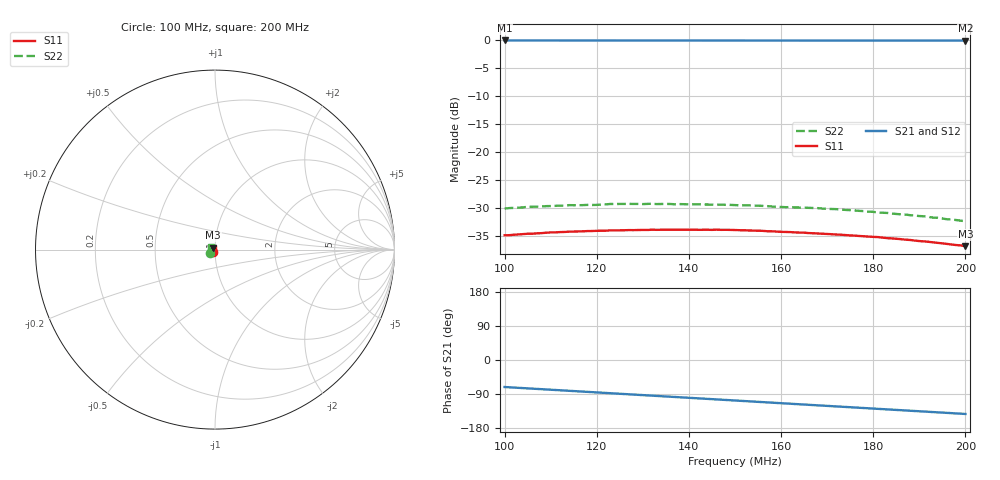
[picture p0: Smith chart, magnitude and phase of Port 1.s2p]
! RsaToolbox (C) 2014 Rohde & Schwarz America
! Number of points: 101
! Number of ports: 2
! Balanced ports?: No
# Hz S RI R 50
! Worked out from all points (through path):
!   101 points, 100 MHz to 200 MHz, reference 50 ohm
!   highest |S21| = -0.07 dB at 100 MHz (marker M1); lowest = -0.1 dB at 200 MHz (marker M2)
!   group delay of S21, straight-line fit = 1.97 ns
!   lowest |S11| = -36.9 dB at 200 MHz (marker M3), VSWR 1.03, Z = 49 + j1.03 ohm
!   |S11| at or under -10 dB: start of sweep to end of sweep
!   |S22| runs from -32.4 to -29.3 dB; largest |S21 - S12| = 0
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1e8  -0.0139 -0.0113  0.3178 -0.94  0.3178 -0.94  -0.0255 -0.0178
1.05e8  -0.0151 -0.0107  0.2588 -0.9578  0.2588 -0.9578  -0.0275 -0.0168
1.14e8  -0.0171 -0.00893  0.1504 -0.9805  0.1504 -0.9805  -0.0301 -0.0142
1.17e8  -0.0176 -0.00824  0.1138 -0.9853  0.1138 -0.9853  -0.0307 -0.013
1.2e8  -0.0181 -0.00754  0.0771 -0.9888  0.0771 -0.9888  -0.0313 -0.012
1.23e8  -0.0186 -0.00682  0.04 -0.9909  0.04 -0.9909  -0.0323 -0.0111
1.29e8  -0.0193 -0.00519  -0.0338 -0.9909  -0.0338 -0.9909  -0.033 -0.00871
1.34e8  -0.0197 -0.00378  -0.0951 -0.9868  -0.0951 -0.9868  -0.0334 -0.00668
1.42e8  -0.02 -0.00147  -0.1923 -0.9724  -0.1923 -0.9724  -0.0337 -0.00351
1.46e8  -0.0201 -0.000351  -0.2402 -0.9615  -0.2402 -0.9615  -0.0336 -0.00207
1.5e8  -0.0199 0.000823  -0.2875 -0.9483  -0.2875 -0.9483  -0.0333 -0.000466
1.55e8  -0.0195 0.00236  -0.3457 -0.9285  -0.3457 -0.9285  -0.0329 0.00163
1.58e8  -0.0192 0.00315  -0.38 -0.9149  -0.38 -0.9149  -0.0323 0.00272
1.67e8  -0.0178 0.0055  -0.4796 -0.8666  -0.4796 -0.8666  -0.0309 0.00597
1.76e8  -0.0161 0.00755  -0.5728 -0.8078  -0.5728 -0.8078  -0.0285 0.00886
1.8e8  -0.0152 0.00832  -0.612 -0.7784  -0.612 -0.7784  -0.0272 0.00999
1.81e8  -0.015 0.00849  -0.6216 -0.7707  -0.6216 -0.7707  -0.0268 0.0101
1.83e8  -0.0144 0.00877  -0.6405 -0.755  -0.6405 -0.755  -0.0263 0.0107
1.84e8  -0.0142 0.00897  -0.6498 -0.747  -0.6498 -0.747  -0.0258 0.011
1.91e8  -0.0123 0.00984  -0.712 -0.6878  -0.712 -0.6878  -0.0233 0.0126
1.99e8  -0.0101 0.0105  -0.7764 -0.6136  -0.7764 -0.6136  -0.02 0.0136
2e8  -0.00976 0.0105  -0.784 -0.6039  -0.784 -0.6039  -0.0197 0.0135
